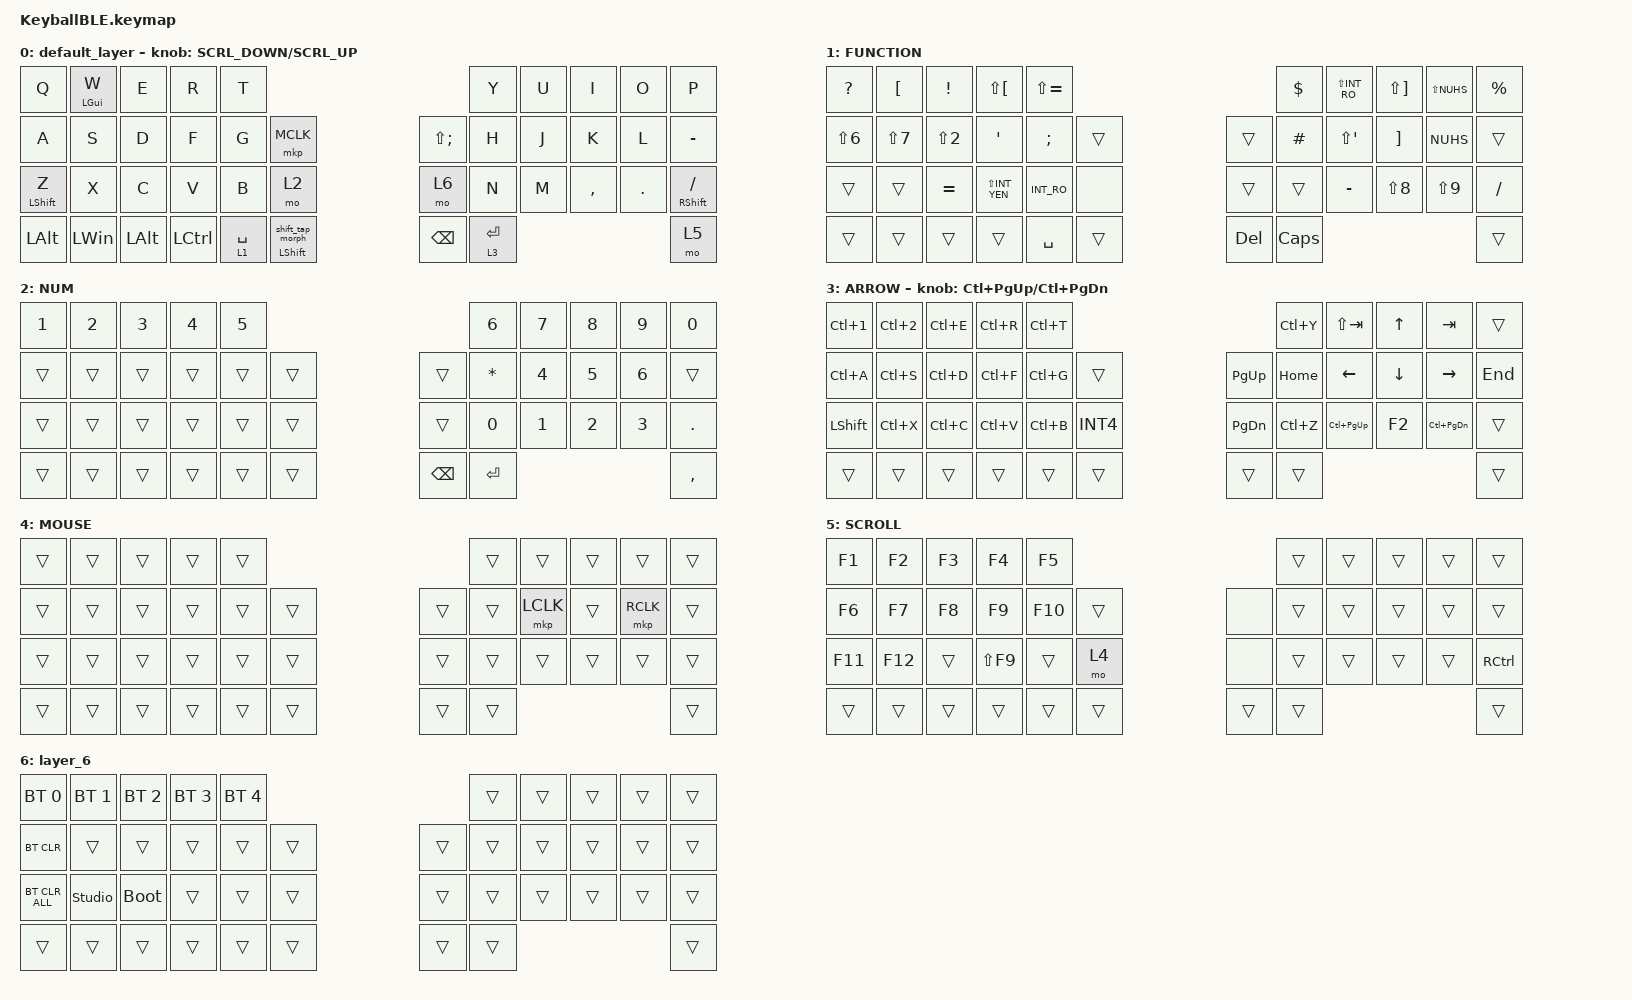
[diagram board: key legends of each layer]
#define ZMK_POINTING_DEFAULT_SCRL_VAL 120    // default: 10

#include <scroll-snap.dtsi>
#include <behaviors.dtsi>
#include <dt-bindings/zmk/bt.h>
#include <dt-bindings/zmk/keys.h>
#include <dt-bindings/zmk/pointing.h>

#define MOUSE 4
#define SCROLL 5
#define NUM 6

&mt {
    flavor = "tap-preferred";
    tapping-term-ms = <300>;
    quick-tap-ms = <0>;
};

&lt {
    flavor = "hold-preferred";
    require-prior-idle-ms = <250>;
};

/ {
    combos {
        compatible = "zmk,combos";
        timeout-ms = <20>;
        require-prior-idle-ms = <150>;

        double_quotation {
            bindings = <&kp LS(N2)>;
            key-positions = <20 21>;
        };

        quotation {
            bindings = <&kp LS(N7)>;
            key-positions = <32 33>;
        };

        lang1 {
            bindings = <&kp LANG1>;
            key-positions = <18 19>;
        };

        lang2 {
            bindings = <&kp LANGUAGE_2>;
            key-positions = <13 12>;
        };

        underscore {
            bindings = <&kp LS(INTERNATIONAL_1)>;
            key-positions = <8 9>;
        };

        scroll {
            bindings = <&mo 5>;
            key-positions = <19 20>;
        };

        semicolon {
            bindings = <&kp SEMI>;
            key-positions = <31 32>;
        };

        Esc {
            bindings = <&kp ESC>;
            key-positions = <14 13>;
        };
    };

    macros {
        to_layer_0: to_layer_0 {
            compatible = "zmk,behavior-macro-one-param";
            #binding-cells = <1>;
            bindings = <&to 0 &macro_param_1to1 &kp MACRO_PLACEHOLDER>;
            label = "TO_LAYER_0";
        };

        exit_AML: exit_AML {
            compatible = "zmk,behavior-macro";
            wait-ms = <0>;
            tap-ms = <0>;
            #binding-cells = <0>;
            bindings = <&tog_off MOUSE>;
            label = "exit_AML";
        };

        kp_exit_AML: kp_exit_AML {
            compatible = "zmk,behavior-macro-one-param";
            wait-ms = <0>;
            tap-ms = <0>;
            #binding-cells = <1>;
            bindings = <&macro_param_1to1 &kp MACRO_PLACEHOLDER &exit_AML>;
            label = "KP_exit_AML";
        };
    };

    behaviors {
        lt_to_layer_0: lt_to_layer_0 {
            compatible = "zmk,behavior-hold-tap";
            label = "LAYER_TAP_TO_0";
            bindings = <&mo>, <&to_layer_0>;

            #binding-cells = <2>;
            tapping-term-ms = <200>;
        };

        tog_off: toggle_layer_off {
            compatible = "zmk,behavior-toggle-layer";
            #binding-cells = <1>;
            display-name = "Toggle Layer Off";
            toggle-mode = "off";
        };

        mt_exit_AML_left: mt_exit_AML_left {
            compatible = "zmk,behavior-hold-tap";
            label = "MT_EXIT_AML_LEFT";
            bindings = <&kp>, <&kp_exit_AML>;

            #binding-cells = <2>;
            tapping-term-ms = <200>;
            flavor = "balanced";
            quick-tap-ms = <200>;
            require-prior-idle-ms = <150>;
            hold-trigger-key-positions = <
                5 6 7 8 9
                16 17 18 19 20 21
                28 29 30 31 32 33
                40 41 42
            >;
        };

        mt_exit_AML_right: mt_exit_AML_right {
            compatible = "zmk,behavior-hold-tap";
            label = "MT_EXIT_AML_RIGHT";
            bindings = <&kp>, <&kp_exit_AML>;

            #binding-cells = <2>;
            tapping-term-ms = <200>;
            flavor = "balanced";
            quick-tap-ms = <200>;
            require-prior-idle-ms = <150>;
            hold-trigger-key-positions = <
                0 1 2 3 4
                10 11 12 13 14 15
                22 23 24 25 26 27
                34 35 36 37 38 39
            >;
        };

        shift_tap_morph: shift_tap_morph {
            compatible = "zmk,behavior-mod-morph";
            label = "SHIFT_TAP_MORPH";
            #binding-cells = <0>;
        
            bindings = <&sk LEFT_SHIFT>, <&caps_word>;
            mods = <(MOD_LSFT)>;
        };
        
        shift_magic: shift_magic {
            compatible = "zmk,behavior-hold-tap";
            label = "SHIFT_MAGIC";
            #binding-cells = <2>;
        
            bindings = <&kp>, <&shift_tap_morph>;
        
            flavor = "balanced";
            tapping-term-ms = <200>;
            quick-tap-ms = <175>;
        };

        ROTATE: ROTATE {
            compatible = "zmk,behavior-sensor-rotate-var";
            label = "ROTATE";
            #sensor-binding-cells = <2>;
            bindings = <&msc>, <&msc>;

            tap-ms = <20>;
        };
    };

    keymap {
        compatible = "zmk,keymap";

        default_layer {
            bindings = <
&kp Q                           &mt LEFT_GUI W  &kp E         &kp R      &kp T                                                                &kp Y        &kp U  &kp I      &kp O    &kp P
&kp A                           &kp S           &kp D         &kp F      &kp G        &mkp MCLK                                &kp LS(SEMI)   &kp H        &kp J  &kp K      &kp L    &kp MINUS
&mt_exit_AML_left LEFT_SHIFT Z  &kp X           &kp C         &kp V      &kp B        &mo 2                                    &mo 6          &kp N        &kp M  &kp COMMA  &kp DOT  &mt_exit_AML_right RIGHT_SHIFT SLASH
&kp LEFT_ALT                    &kp LEFT_WIN    &kp LEFT_ALT  &kp LCTRL  &lt 1 SPACE  &shift_magic LEFT_SHIFT 0                &kp BACKSPACE  &lt 3 ENTER                             &mo 5
            >;

            sensor-bindings = <&ROTATE SCRL_DOWN SCRL_UP>;
        };

        FUNCTION {
            bindings = <
&kp QUESTION      &kp LEFT_BRACKET  &kp EXCL          &kp LS(LEFT_BRACKET)  &kp LS(EQUAL)                       &kp DOLLAR  &kp LS(INT_RO)  &kp LS(RIGHT_BRACKET)  &kp LS(NUHS)  &kp PERCENT
&kp LS(NUMBER_6)  &kp LS(N7)        &kp LS(NUMBER_2)  &kp SINGLE_QUOTE      &kp SEMICOLON  &trans      &trans   &kp HASH    &kp LS(APOS)    &kp RIGHT_BRACKET      &kp NUHS      &trans
&trans            &trans            &kp EQUAL         &kp LS(INT_YEN)       &kp INT_RO     &none       &trans   &trans      &kp MINUS       &kp LS(N8)             &kp LS(N9)    &kp SLASH
&trans            &trans            &trans            &trans                &kp SPACE      &trans      &kp DEL  &kp CAPS                                                         &trans
            >;
        };

        NUM {
            bindings = <
&kp NUMBER_1  &kp NUMBER_2  &kp NUMBER_3  &kp NUMBER_4  &kp N5                             &kp NUMBER_6  &kp NUMBER_7  &kp N8        &kp N9        &kp N0
&trans        &trans        &trans        &trans        &trans  &trans      &trans         &kp ASTERISK  &kp NUMBER_4  &kp N5        &kp NUMBER_6  &trans
&trans        &trans        &trans        &trans        &trans  &trans      &trans         &kp N0        &kp NUMBER_1  &kp NUMBER_2  &kp NUMBER_3  &kp PERIOD
&trans        &trans        &trans        &trans        &trans  &trans      &kp BACKSPACE  &kp ENTER                                               &kp COMMA
            >;
        };

        ARROW {
            bindings = <
&kp LC(NUMBER_1)  &kp LC(NUMBER_2)  &kp LC(E)  &kp LC(R)  &kp LC(T)                               &kp LC(Y)  &kp LS(TAB)      &kp UP_ARROW    &kp TAB            &trans
&kp LC(A)         &kp LC(S)         &kp LC(D)  &kp LC(F)  &kp LC(G)  &trans        &kp PAGE_UP    &kp HOME   &kp LEFT_ARROW   &kp DOWN_ARROW  &kp RIGHT          &kp END
&kp LEFT_SHIFT    &kp LC(X)         &kp LC(C)  &kp LC(V)  &kp LC(B)  &kp INT4      &kp PAGE_DOWN  &kp LC(Z)  &kp LC(PAGE_UP)  &kp F2          &kp LC(PAGE_DOWN)  &trans
&trans            &trans            &trans     &trans     &trans     &trans        &trans         &trans                                                         &trans
            >;

            sensor-bindings = <&inc_dec_kp LC(PAGE_UP) LC(PAGE_DOWN)>;
        };

        MOUSE {
            bindings = <
&trans  &trans  &trans  &trans  &trans                      &trans  &trans     &trans  &trans     &trans
&trans  &trans  &trans  &trans  &trans  &trans      &trans  &trans  &mkp LCLK  &trans  &mkp RCLK  &trans
&trans  &trans  &trans  &trans  &trans  &trans      &trans  &trans  &trans     &trans  &trans     &trans
&trans  &trans  &trans  &trans  &trans  &trans      &trans  &trans                                &trans
            >;
        };

        SCROLL {
            bindings = <
&kp F1   &kp F2   &kp F3  &kp F4      &kp F5                       &trans  &trans  &trans  &trans  &trans
&kp F6   &kp F7   &kp F8  &kp F9      &kp F10  &trans      &none   &trans  &trans  &trans  &trans  &trans
&kp F11  &kp F12  &trans  &kp LS(F9)  &trans   &mo 4       &none   &trans  &trans  &trans  &trans  &kp RCTRL
&trans   &trans   &trans  &trans      &trans   &trans      &trans  &trans                          &trans
            >;
        };

        layer_6 {
            bindings = <
&bt BT_SEL 0    &bt BT_SEL 1    &bt BT_SEL 2  &bt BT_SEL 3  &bt BT_SEL 4                      &trans  &trans  &trans  &trans  &trans
&bt BT_CLR      &trans          &trans        &trans        &trans        &trans      &trans  &trans  &trans  &trans  &trans  &trans
&bt BT_CLR_ALL  &studio_unlock  &bootloader   &trans        &trans        &trans      &trans  &trans  &trans  &trans  &trans  &trans
&trans          &trans          &trans        &trans        &trans        &trans      &trans  &trans                          &trans
            >;
        };
    };
};
